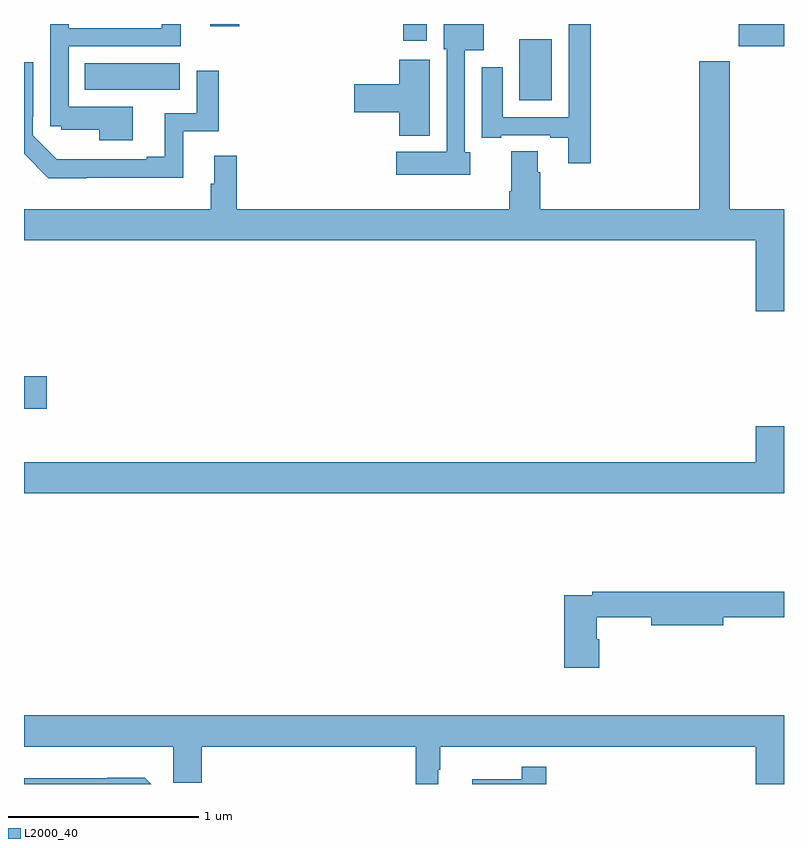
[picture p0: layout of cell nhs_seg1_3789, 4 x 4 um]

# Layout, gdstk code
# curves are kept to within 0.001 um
import gdstk
lib = gdstk.Library(unit=1e-6, precision=1e-09)
def R(c, l, rs):  # rectangles x0, y0, x1, y1
    for r in rs: c.add(gdstk.rectangle(r[:2], r[2:], *l))
def P(c, l, *ps):  # polygons
    for p in ps: c.add(gdstk.Polygon(p, *l))
L2000_40 = (2000, 40)

nhs_seg1_3789 = lib.new_cell('nhs_seg1_3789')
R(nhs_seg1_3789, L2000_40, [(317,556.175,317.119,556.346), (319.607,557.798,319.777,558.118), (317.32,557.852,317.821,557.992), (320.762,558.083,321,558.199), (318.995,558.111,319.12,558.199), (317.981,558.186,318.134,558.199)])
P(nhs_seg1_3789, L2000_40, [(317.572,557.764),(317.235,557.764),(317.235,558.081),(317.824,558.081),(317.824,558.199),(317.726,558.199),(317.726,558.177),(317.236,558.177),(317.236,558.199),(317.139,558.199),(317.139,557.661),(317.196,557.661),(317.196,557.642),(317.396,557.642),(317.396,557.588),(317.572,557.588)],
  [(319.982,558.199),(319.866,558.199),(319.866,557.709),(319.519,557.709),(319.519,557.971),(319.409,557.971),(319.409,557.601),(319.513,557.601),(319.513,557.613),(319.769,557.613),(319.769,557.601),(319.865,557.601),(319.865,557.466),(319.982,557.466)],
  [(319.348,557.523),(319.32,557.523),(319.32,558.062),(319.42,558.062),(319.42,558.199),(319.208,558.199),(319.208,558.066),(319.224,558.066),(319.224,557.527),(318.96,557.527),(318.96,557.405),(319.348,557.405)],
  [(319.135,558.01),(318.974,558.01),(318.974,557.882),(318.738,557.882),(318.738,557.735),(318.974,557.735),(318.974,557.612),(319.135,557.612)],
  [(321,557.224),(320.715,557.224),(320.715,558.004),(320.555,558.004),(320.555,557.224),(319.718,557.224),(319.718,557.42),(319.705,557.42),(319.705,557.528),(319.565,557.528),(319.565,557.32),(319.553,557.32),(319.553,557.224),(318.119,557.224),(318.119,557.506),(318.002,557.506),(318.002,557.357),(317.983,557.357),(317.983,557.224),(317,557.224),(317,557.06),(320.852,557.06),(320.852,556.686),(321,556.686)],
  [(317.327,557.39),(317.839,557.39),(317.839,557.634),(318.026,557.634),(318.026,557.953),(317.91,557.953),(317.91,557.73),(317.741,557.73),(317.741,557.5),(317.645,557.5),(317.645,557.487),(317.172,557.488),(317.046,557.613),(317.046,557.713),(317.049,557.713),(317.049,557.998),(317,557.998),(317,557.515),(317.128,557.388),(317.327,557.388)],
  [(321,556.081),(320.852,556.081),(320.852,555.892),(317,555.892),(317,555.728),(321,555.728)],
  [(320.027,554.961),(320.014,554.961),(320.014,555.076),(320.3,555.076),(320.3,555.034),(320.68,555.034),(320.68,555.076),(321,555.076),(321,555.212),(319.99,555.212),(319.99,555.192),(319.844,555.192),(319.844,554.811),(320.027,554.811)],
  [(317,554.396),(317.785,554.396),(317.785,554.205),(317.936,554.205),(317.936,554.396),(319.063,554.396),(319.063,554.199),(319.18,554.199),(319.18,554.273),(319.192,554.273),(319.192,554.396),(320.852,554.396),(320.852,554.199),(321,554.199),(321,554.56),(317,554.56)],
  [(319.748,554.29),(319.62,554.29),(319.62,554.224),(319.358,554.224),(319.358,554.199),(319.748,554.199)],
  [(317.636,554.233),(317.437,554.233),(317.437,554.23),(317,554.23),(317,554.199),(317.67,554.199)])

lib.write_gds('nhs_seg1_3789.gds')
